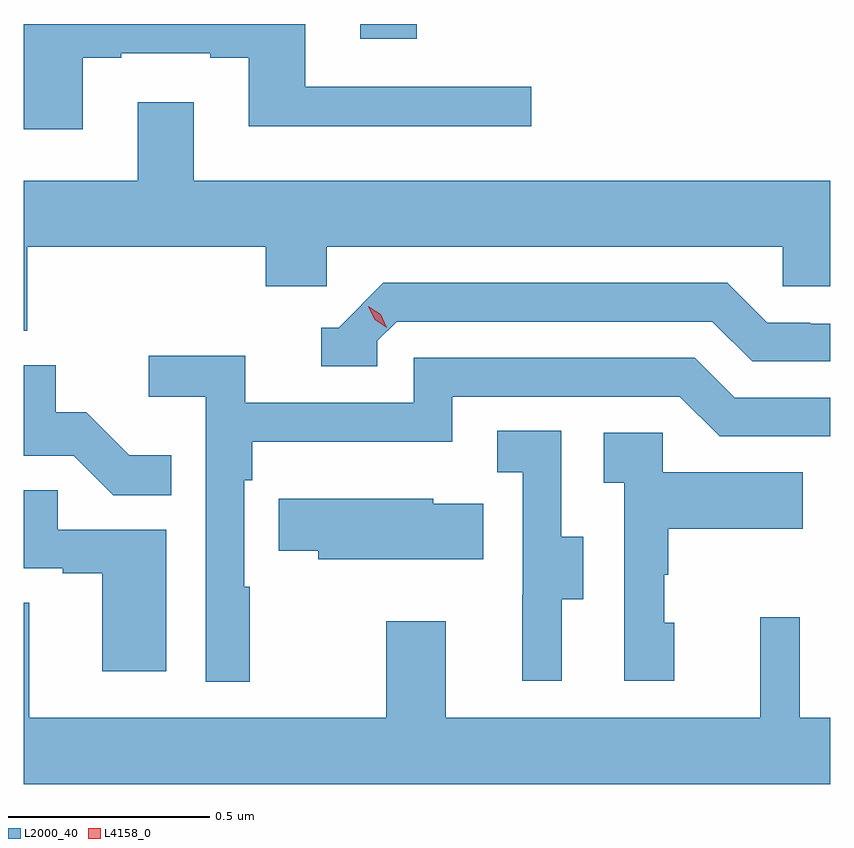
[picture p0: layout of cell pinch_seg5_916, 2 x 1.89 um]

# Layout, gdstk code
import gdstk
lib = gdstk.Library(unit=1e-6, precision=1e-09)
def R(c, l, rs):  # rectangles x0, y0, x1, y1
    for r in rs: c.add(gdstk.rectangle(r[:2], r[2:], *l))
def P(c, l, *ps):  # polygons
    for p in ps: c.add(gdstk.Polygon(p, *l))
L2000_40 = (2000, 40)
L4158_0 = (4158, 0)

pinch_seg5_916 = lib.new_cell('pinch_seg5_916')
R(pinch_seg5_916, L2000_40, [(877.271,887.913,877.411,887.949)])
P(pinch_seg5_916, L2000_40, [(876.583,887.865),(876.679,887.865),(876.679,887.877),(876.899,887.877),(876.899,887.865),(876.995,887.865),(876.995,887.696),(877.696,887.696),(877.696,887.793),(877.135,887.793),(877.135,887.949),(876.437,887.949),(876.437,887.688),(876.583,887.688)],
  [(876.446,887.396),(877.037,887.396),(877.037,887.298),(877.188,887.298),(877.188,887.396),(878.319,887.396),(878.319,887.298),(878.437,887.298),(878.437,887.56),(876.859,887.56),(876.859,887.755),(876.719,887.755),(876.719,887.56),(876.437,887.56),(876.437,887.188),(876.446,887.188)],
  [(877.314,887.163),(877.362,887.211),(878.145,887.211),(878.244,887.112),(878.437,887.112),(878.437,887.205),(878.388,887.205),(878.388,887.208),(878.281,887.208),(878.182,887.307),(877.329,887.307),(877.218,887.196),(877.175,887.196),(877.175,887.1),(877.314,887.1)],
  [(876.997,886.553),(876.984,886.553),(876.984,886.817),(877.003,886.817),(877.003,886.913),(877.5,886.913),(877.5,887.025),(878.064,887.025),(878.163,886.926),(878.437,886.926),(878.437,887.022),(878.2,887.022),(878.101,887.121),(877.404,887.121),(877.404,887.01),(876.986,887.01),(876.986,887.126),(876.747,887.126),(876.747,887.024),(876.888,887.024),(876.888,886.317),(876.997,886.317)],
  [(876.803,886.879),(876.699,886.879),(876.592,886.986),(876.516,886.986),(876.516,887.103),(876.437,887.103),(876.437,886.878),(876.561,886.878),(876.659,886.78),(876.803,886.78)],
  [(877.771,886.522),(877.825,886.522),(877.825,886.677),(877.77,886.677),(877.77,886.94),(877.611,886.94),(877.611,886.837),(877.674,886.837),(877.674,886.533),(877.673,886.533),(877.673,886.32),(877.771,886.32)],
  [(878.05,886.464),(878.025,886.464),(878.025,886.583),(878.035,886.583),(878.035,886.697),(878.369,886.697),(878.369,886.837),(878.022,886.837),(878.022,886.935),(877.875,886.935),(877.875,886.811),(877.926,886.811),(877.926,886.32),(878.05,886.32)],
  [(876.79,886.695),(876.521,886.695),(876.521,886.793),(876.437,886.793),(876.437,886.599),(876.533,886.599),(876.533,886.587),(876.632,886.587),(876.632,886.344),(876.79,886.344)],
  [(877.577,886.759),(877.452,886.759),(877.452,886.771),(877.069,886.771),(877.069,886.642),(877.167,886.642),(877.167,886.622),(877.577,886.622)],
  [(878.437,886.228),(878.361,886.228),(878.361,886.477),(878.264,886.477),(878.264,886.228),(877.483,886.228),(877.483,886.468),(877.336,886.468),(877.336,886.228),(876.451,886.228),(876.451,886.514),(876.437,886.514),(876.437,886.064),(878.437,886.064)])
P(pinch_seg5_916, L4158_0, [(877.337,887.196),(877.307,887.216),(877.291,887.249),(877.291,887.249),(877.291,887.249),(877.322,887.229),(877.337,887.196),(877.337,887.196)])

lib.write_gds('pinch_seg5_916.gds')
